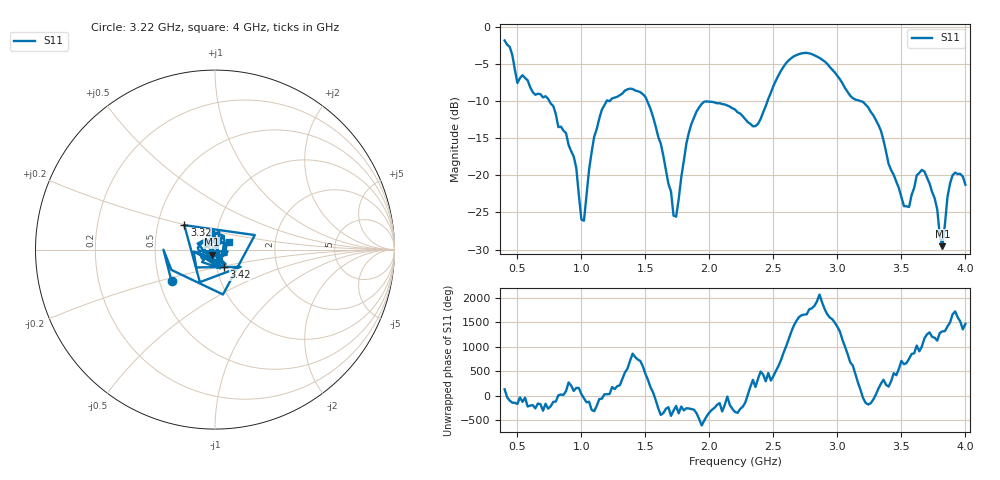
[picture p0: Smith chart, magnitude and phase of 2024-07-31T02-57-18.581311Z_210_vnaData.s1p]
!Created with skrf (http://scikit-rf.org).
# Hz S RI R 50.0
!freq ReS11 ImS11
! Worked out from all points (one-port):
!   181 points, 400 MHz to 4 GHz, reference 50 ohm
!   lowest |S11| = -29.5 dB at 3.82 GHz (marker M1), VSWR 1.07, Z = 48.1 - j2.63 ohm
!   |S11| at or under -10 dB: 749.4 MHz to 1.197 GHz (447.8 MHz wide, 46 % of centre); 1.514 GHz to 2.454 GHz (939.8 MHz wide, 47.4 % of centre); 3.178 GHz to end of sweep (the widest 3 of 4)
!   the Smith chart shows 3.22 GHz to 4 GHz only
!   S11 on the Smith chart (normalised r, x): 3.22 GHz: 0.58, -0.22; 3.32 GHz: 0.69, +0.20; 3.42 GHz: 1.08, -0.21; 4 GHz: 1.16, +0.10
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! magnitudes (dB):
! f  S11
! 400 MHz  -1.8
! 500 MHz  -7.6
! 740 MHz  -9.7
! 860 MHz  -14.0
! 940 MHz  -17.5
! 1.02 GHz  -26.1
! 1.08 GHz  -16.9
! 1.14 GHz  -12.3
! 1.3 GHz  -9.2
! 1.5 GHz  -9.4
! 1.62 GHz  -15.7
! 1.72 GHz  -25.4
! 1.76 GHz  -23.2
! 1.82 GHz  -15.7
! 1.9 GHz  -11.4
! 2.2 GHz  -11.1
! 2.38 GHz  -13.1
! 2.66 GHz  -4.0
! 2.88 GHz  -4.4
! 3.1 GHz  -9.3
! 3.22 GHz  -10.5
! 3.32 GHz  -13.2
! 3.42 GHz  -19.3
! 3.56 GHz  -24.3
! 3.68 GHz  -19.5
! 3.82 GHz  -29.5
! 3.9 GHz  -20.0
! 4 GHz  -21.3
